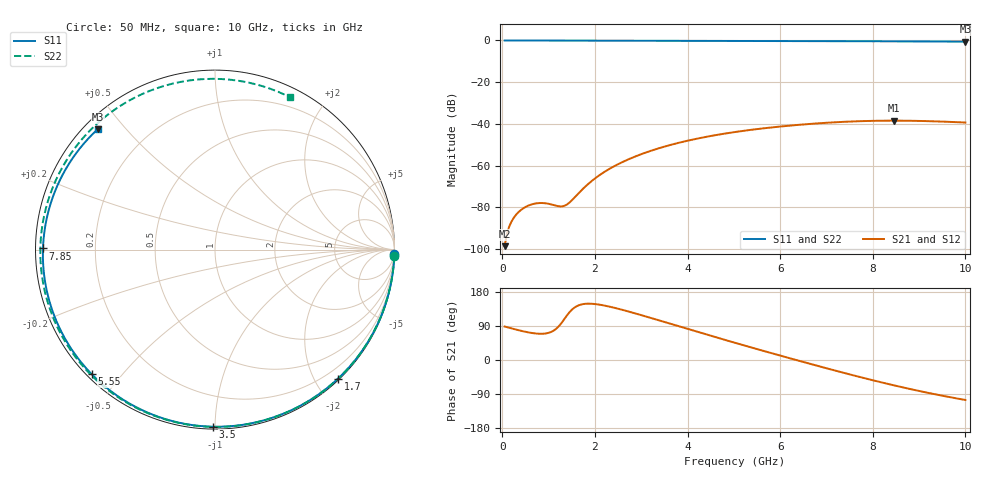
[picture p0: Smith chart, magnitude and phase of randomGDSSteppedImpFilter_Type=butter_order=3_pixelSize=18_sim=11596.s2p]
! freq	dB(S11)	phase(S11)	dB(S12)	phase(S12)
!  dB(S21)	phase(S21)	dB(S22)	phase(S22)
!S-par simulation data
#  GHz  S  DB  R 50
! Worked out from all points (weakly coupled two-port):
!   200 points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, 50 MHz to 10 GHz, reference 50 ohm
!   highest |S21| = -38.45 dB at 8.45 GHz (marker M1); lowest = -98.6 dB at 50 MHz (marker M2)
!   lowest |S11| = -0.6 dB at 10 GHz (marker M3), VSWR 30.49, Z = 1.93 + j21 ohm
!   |S11| at or under -10 dB: nowhere
!   |S22| runs from -0.5 to 0.0 dB; largest |S21 - S12| = 0
!   S11 on the Smith chart (normalised r, x): 50 MHz: 0, -81; 1.7 GHz: 0.02, -2.34; 3.5 GHz: 0.01, -0.99; 5.55 GHz: 0.01, -0.42; 7.85 GHz: 0.02, +0.00; 10 GHz: 0.04, +0.42
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0.05  -0.00 -1.4  -98.64 88.4  -98.64 88.4  -0.00 -2.1
0.45  -0.02 -12.5  -80.53 75.8  -80.53 75.8  -0.02 -18.2
0.85  -0.03 -23.5  -77.94 69.2  -77.94 69.2  -0.04 -34.0
1.3  -0.04 -35.7  -79.53 101.2  -79.53 101.2  -0.06 -51.3
1.45  -0.05 -39.7  -77.73 125.9  -77.73 125.9  -0.07 -56.9
1.7  -0.06 -46.3  -72.04 146.3  -72.04 146.3  -0.08 -66.0
1.75  -0.06 -47.6  -70.95 147.6  -70.95 147.6  -0.08 -67.8
2.05  -0.07 -55.4  -65.36 146.9  -65.36 146.9  -0.09 -78.3
2.45  -0.08 -65.5  -59.90 136.9  -59.90 136.9  -0.11 -91.7
2.9  -0.10 -76.5  -55.38 122.0  -55.38 122.0  -0.12 -106.1
3.4  -0.11 -88.3  -51.56 104.1  -51.56 104.1  -0.14 -121.1
3.5  -0.11 -90.6  -50.91 100.4  -50.91 100.4  -0.14 -124.0
4.3  -0.14 -108.5  -46.66 71.2  -46.66 71.2  -0.17 -146.2
5.05  -0.18 -124.4  -43.82 44.5  -43.82 44.5  -0.21 -165.9
5.55  -0.21 -134.7  -42.36 27.1  -42.36 27.1  -0.23 -178.6
6.1  -0.24 -145.7  -41.06 8.3  -41.06 8.3  -0.26 167.6
6.7  -0.28 -157.6  -39.93 -11.9  -39.93 -11.9  -0.30 152.5
7.85  -0.37 179.6  -38.62 -48.9  -38.62 -48.9  -0.37 122.9
8.35  -0.41 169.5  -38.45 -63.8  -38.45 -63.8  -0.39 109.7
8.45  -0.42 167.5  -38.45 -66.7  -38.45 -66.7  -0.40 107.0
9.25  -0.50 150.8  -38.72 -88.1  -38.72 -88.1  -0.44 85.1
10  -0.57 134.3  -39.35 -105.5  -39.35 -105.5  -0.48 64.0
